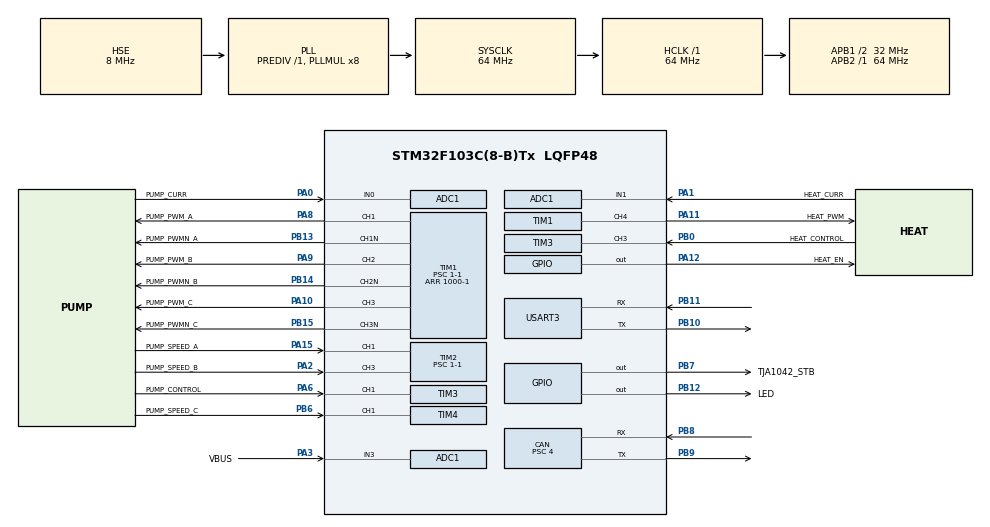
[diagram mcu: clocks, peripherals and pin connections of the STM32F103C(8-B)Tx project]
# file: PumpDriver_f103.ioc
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ADC1.Channel-3\#ChannelRegularConversion=ADC_CHANNEL_VREFINT
ADC1.Channel-4\#ChannelRegularConversion=ADC_CHANNEL_TEMPSENSOR
ADC1.Channel-5\#ChannelRegularConversion=ADC_CHANNEL_3
ADC1.Channel-6\#ChannelRegularConversion=ADC_CHANNEL_1
ADC1.Channel-7\#ChannelRegularConversion=ADC_CHANNEL_0
ADC1.NbrOfConversion=5
ADC1.NbrOfConversionFlag=1
ADC1.Rank-3\#ChannelRegularConversion=1
ADC1.Rank-4\#ChannelRegularConversion=2
ADC1.Rank-5\#ChannelRegularConversion=3
ADC1.Rank-6\#ChannelRegularConversion=4
ADC1.Rank-7\#ChannelRegularConversion=5
ADC1.SamplingTime-3\#ChannelRegularConversion=ADC_SAMPLETIME_239CYCLES_5
ADC1.SamplingTime-4\#ChannelRegularConversion=ADC_SAMPLETIME_239CYCLES_5
ADC1.SamplingTime-5\#ChannelRegularConversion=ADC_SAMPLETIME_239CYCLES_5
ADC1.SamplingTime-6\#ChannelRegularConversion=ADC_SAMPLETIME_239CYCLES_5
ADC1.SamplingTime-7\#ChannelRegularConversion=ADC_SAMPLETIME_239CYCLES_5
ADC1.master=1
CAN.ABOM=ENABLE
CAN.BS1=CAN_BS1_5TQ
CAN.BS2=CAN_BS2_2TQ
CAN.CalculateBaudRate=1000000
CAN.CalculateTimeBit=1000
CAN.CalculateTimeQuantum=125.0
CAN.Mode=CAN_MODE_NORMAL
CAN.NART=ENABLE
CAN.Prescaler=4
CAN.TXFP=ENABLE
Dma.ADC1.0.Direction=DMA_PERIPH_TO_MEMORY
Dma.ADC1.0.Instance=DMA1_Channel1
Dma.ADC1.0.MemDataAlignment=DMA_MDATAALIGN_HALFWORD
Dma.ADC1.0.MemInc=DMA_MINC_ENABLE
Dma.ADC1.0.Mode=DMA_NORMAL
Dma.ADC1.0.PeriphDataAlignment=DMA_PDATAALIGN_HALFWORD
Dma.ADC1.0.PeriphInc=DMA_PINC_DISABLE
Dma.ADC1.0.Priority=DMA_PRIORITY_LOW
Dma.Request0=ADC1
Mcu.Family=STM32F1
Mcu.Name=STM32F103C(8-B)Tx
Mcu.Package=LQFP48
NVIC.CAN1_SCE_IRQn=true\:0\:0\:false\:false\:true\:true\:true\:true
NVIC.DMA1_Channel1_IRQn=true\:0\:0\:false\:false\:true\:false\:true\:true
NVIC.PriorityGroup=NVIC_PRIORITYGROUP_4
NVIC.TIM2_IRQn=true\:0\:0\:false\:false\:true\:true\:true\:true
NVIC.TIM3_IRQn=true\:0\:0\:false\:false\:true\:true\:true\:true
NVIC.TIM4_IRQn=true\:0\:0\:false\:false\:true\:true\:true\:true
NVIC.USART3_IRQn=true\:0\:0\:false\:false\:true\:true\:true\:true
NVIC.USB_LP_CAN1_RX0_IRQn=true\:0\:0\:false\:false\:true\:true\:true\:true
PA0-WKUP.GPIO_Label=PUMP_CURR
PA0-WKUP.Signal=ADCx_IN0
PA1.GPIO_Label=HEAT_CURR
PA1.Signal=ADCx_IN1
PA10.GPIO_Label=PUMP_PWM_C
PA10.GPIO_Speed=GPIO_SPEED_FREQ_HIGH
PA10.Signal=S_TIM1_CH3
PA11.GPIO_Label=HEAT_PWM
PA11.GPIO_Speed=GPIO_SPEED_FREQ_HIGH
PA11.Signal=S_TIM1_CH4
PA12.GPIO_Label=HEAT_EN
PA12.Signal=GPIO_Output
PA13.Mode=Serial_Wire
PA13.Signal=SYS_JTMS-SWDIO
PA14.Mode=Serial_Wire
PA14.Signal=SYS_JTCK-SWCLK
PA15.GPIO_Label=PUMP_SPEED_A
PA15.Signal=S_TIM2_CH1_ETR
PA2.GPIO_Label=PUMP_SPEED_B
PA2.Signal=S_TIM2_CH3
PA3.GPIO_Label=VBUS
PA3.Signal=ADCx_IN3
PA6.GPIO_Label=PUMP_CONTROL
PA6.Signal=S_TIM3_CH1
PA8.GPIO_Label=PUMP_PWM_A
PA8.GPIO_Speed=GPIO_SPEED_FREQ_HIGH
PA8.Signal=S_TIM1_CH1
PA9.GPIO_Label=PUMP_PWM_B
PA9.GPIO_Speed=GPIO_SPEED_FREQ_HIGH
PA9.Signal=S_TIM1_CH2
PB0.GPIO_Label=HEAT_CONTROL
PB0.Signal=S_TIM3_CH3
PB10.Mode=Asynchronous
PB10.Signal=USART3_TX
PB11.Mode=Asynchronous
PB11.Signal=USART3_RX
PB12.GPIO_Label=LED
PB12.Signal=GPIO_Output
PB13.GPIO_Label=PUMP_PWMN_A
PB13.GPIO_Speed=GPIO_SPEED_FREQ_HIGH
PB13.Mode=PWM Generation1 CH1 CH1N
PB13.Signal=TIM1_CH1N
PB14.GPIO_Label=PUMP_PWMN_B
PB14.GPIO_Speed=GPIO_SPEED_FREQ_HIGH
PB14.Mode=PWM Generation2 CH2 CH2N
PB14.Signal=TIM1_CH2N
PB15.GPIO_Label=PUMP_PWMN_C
PB15.GPIO_Speed=GPIO_SPEED_FREQ_HIGH
PB15.Mode=PWM Generation3 CH3 CH3N
PB15.Signal=TIM1_CH3N
PB6.GPIO_Label=PUMP_SPEED_C
PB6.Signal=S_TIM4_CH1
PB7.GPIO_Label=TJA1042_STB
PB7.Signal=GPIO_Output
PB8.Mode=CAN_Activate
PB8.Signal=CAN_RX
PB9.Mode=CAN_Activate
PB9.Signal=CAN_TX
PD0-OSC_IN.Mode=HSE-External-Oscillator
PD0-OSC_IN.Signal=RCC_OSC_IN
PD1-OSC_OUT.Mode=HSE-External-Oscillator
PD1-OSC_OUT.Signal=RCC_OSC_OUT
ProjectManager.HeapSize=0x200
ProjectManager.StackSize=0x400
ProjectManager.TargetToolchain=STM32CubeIDE
RCC.ADCPresc=RCC_ADCPCLK2_DIV6
RCC.AHBFreq_Value=64000000
RCC.APB1CLKDivider=RCC_HCLK_DIV2
RCC.APB1Freq_Value=32000000
RCC.APB1TimFreq_Value=64000000
RCC.APB2Freq_Value=64000000
RCC.APB2TimFreq_Value=64000000
RCC.HCLKFreq_Value=64000000
RCC.PLLMUL=RCC_PLL_MUL8
RCC.PLLSourceVirtual=RCC_PLLSOURCE_HSE
RCC.SYSCLKFreq_VALUE=64000000
RCC.SYSCLKSource=RCC_SYSCLKSOURCE_PLLCLK
RCC.USBFreq_Value=64000000
SH.ADCx_IN0.0=ADC1_IN0,IN0
SH.ADCx_IN1.0=ADC1_IN1,IN1
SH.ADCx_IN3.0=ADC1_IN3,IN3
SH.S_TIM1_CH1.0=TIM1_CH1,PWM Generation1 CH1 CH1N
SH.S_TIM1_CH2.0=TIM1_CH2,PWM Generation2 CH2 CH2N
SH.S_TIM1_CH3.0=TIM1_CH3,PWM Generation3 CH3 CH3N
SH.S_TIM1_CH4.0=TIM1_CH4,PWM Generation4 CH4
SH.S_TIM2_CH1_ETR.0=TIM2_CH1,Input_Capture1_from_TI1
SH.S_TIM2_CH3.0=TIM2_CH3,Input_Capture3_from_TI3
SH.S_TIM3_CH1.0=TIM3_CH1,Input_Capture1_from_TI1
SH.S_TIM3_CH3.0=TIM3_CH3,Input_Capture3_from_TI3
SH.S_TIM4_CH1.0=TIM4_CH1,Input_Capture1_from_TI1
TIM1.Channel-PWM\ Generation1\ CH1\ CH1N=TIM_CHANNEL_1
TIM1.Channel-PWM\ Generation2\ CH2\ CH2N=TIM_CHANNEL_2
TIM1.Channel-PWM\ Generation3\ CH3\ CH3N=TIM_CHANNEL_3
TIM1.Channel-PWM\ Generation4\ CH4=TIM_CHANNEL_4
TIM1.DeadTime=2
TIM1.Period=1000-1
TIM1.Prescaler=1-1
TIM2.AutoReloadPreload=TIM_AUTORELOAD_PRELOAD_ENABLE
TIM2.Channel-Input_Capture1_from_TI1=TIM_CHANNEL_1
TIM2.Channel-Input_Capture2_from_TI1_63=TIM_CHANNEL_2
TIM2.Channel-Input_Capture3_from_TI3=TIM_CHANNEL_3
TIM2.Channel-Input_Capture4_from_TI3_63=TIM_CHANNEL_4
TIM2.ICFilter_CH1=15
TIM2.ICFilter_CH3=15
TIM2.ICPolarity_CH2=TIM_INPUTCHANNELPOLARITY_FALLING
TIM2.ICPolarity_CH4=TIM_INPUTCHANNELPOLARITY_FALLING
TIM2.Prescaler=1-1
TIM3.AutoReloadPreload=TIM_AUTORELOAD_PRELOAD_ENABLE
TIM3.Channel-Input_Capture1_from_TI1=TIM_CHANNEL_1
TIM3.Channel-Input_Capture2_from_TI1_63=TIM_CHANNEL_2
TIM3.Channel-Input_Capture3_from_TI3=TIM_CHANNEL_3
TIM3.Channel-Input_Capture4_from_TI3_63=TIM_CHANNEL_4
TIM3.ICFilter_CH1=15
TIM3.ICFilter_CH3=15
TIM3.ICPolarity_CH2=TIM_INPUTCHANNELPOLARITY_FALLING
TIM3.ICPolarity_CH4=TIM_INPUTCHANNELPOLARITY_FALLING
TIM3.Prescaler=128-1
TIM4.AutoReloadPreload=TIM_AUTORELOAD_PRELOAD_ENABLE
TIM4.Channel-Input_Capture1_from_TI1=TIM_CHANNEL_1
TIM4.Channel-Input_Capture2_from_TI1_63=TIM_CHANNEL_2
TIM4.ICFilter_CH1=15
TIM4.ICPolarity_CH2=TIM_INPUTCHANNELPOLARITY_FALLING
TIM4.Period=60000-1
TIM4.Prescaler=64-1
USART3.VirtualMode=VM_ASYNC
VP_ADC1_TempSens_Input.Mode=IN-TempSens
VP_ADC1_Vref_Input.Mode=IN-Vrefint
VP_TIM1_VS_ClockSourceINT.Mode=Internal
VP_TIM2_VS_ClockSourceINT.Mode=Internal
VP_TIM2_VS_indirect_ch1.Mode=Input_Capture2_from_TI1_63
VP_TIM2_VS_indirect_ch3.Mode=Input_Capture4_from_TI3_63
VP_TIM3_VS_ClockSourceINT.Mode=Internal
VP_TIM3_VS_indirect_ch1.Mode=Input_Capture2_from_TI1_63
VP_TIM3_VS_indirect_ch3.Mode=Input_Capture4_from_TI3_63
VP_TIM4_VS_ClockSourceINT.Mode=Internal
VP_TIM4_VS_indirect_ch1.Mode=Input_Capture2_from_TI1_63
board=custom

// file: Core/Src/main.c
/* USER CODE BEGIN Header */
/**
  ******************************************************************************
  * @file           : main.c
  * @brief          : Main program body
  ******************************************************************************
  * @attention
  *
  * Copyright (c) 2026 STMicroelectronics.
  * All rights reserved.
  *
  * This software is licensed under terms that can be found in the LICENSE file
  * in the root directory of this software component.
  * If no LICENSE file comes with this software, it is provided AS-IS.
  *
  ******************************************************************************
  */
/* USER CODE END Header */
#include "main.h"
#include "adc.h"
#include "can.h"
#include "dma.h"
#include "tim.h"
#include "usart.h"
#include "gpio.h"

/* USER CODE BEGIN Includes */
#include "pump.h"
#include "stm32f1xx_ll_adc.h"
/* USER CODE END Includes */

/* USER CODE BEGIN PV */
volatile uint16_t adc[5] = {0,};
int64_t vcpu, temp, vbus, currheat, currpump;
volatile uint8_t adc_flag = 0;

volatile uint8_t can_flag = 0;
CAN_TxHeaderTypeDef TxHeader;
CAN_RxHeaderTypeDef RxHeader;
uint8_t TxData[8] = {0,};
uint8_t RxData[8] = {0,};
uint32_t TxMailbox = 0;
/* USER CODE END PV */

void SystemClock_Config(void);
/* USER CODE BEGIN PFP */
static void HeartbeatLED_Update();
static void Heat_Update();
static void ADC_Update();
static void CAN_Update();
/* USER CODE END PFP */

/* USER CODE BEGIN 0 */
uint8_t can_send_flag = 0;
uint32_t can_id = 0x1234;
uint16_t pumpduty = 0, heatduty = 0;
uint16_t pumptarget = 0;
uint16_t heattarget = 0;
/* USER CODE END 0 */

int main(void)
{

  /* MCU Configuration--------------------------------------------------------*/

  /* Reset of all peripherals, Initializes the Flash interface and the Systick. */
  HAL_Init();

  /* Configure the system clock */
  SystemClock_Config();

  /* Initialize all configured peripherals */
  MX_GPIO_Init();
  MX_DMA_Init();
  MX_ADC1_Init();
  MX_CAN_Init();
  MX_TIM1_Init();
  MX_TIM2_Init();
  MX_TIM3_Init();
  MX_TIM4_Init();
  MX_USART3_UART_Init();
  /* USER CODE BEGIN 2 */
  HAL_ADCEx_Calibration_Start(&hadc1);
  HAL_ADC_Start_DMA(&hadc1, (uint32_t*)&adc, 5);
  HAL_GPIO_WritePin(HEAT_EN_GPIO_Port, HEAT_EN_Pin, GPIO_PIN_SET); // Enable IR2184
  HAL_GPIO_WritePin(TJA1042_STB_GPIO_Port, TJA1042_STB_Pin, GPIO_PIN_RESET); // Enable TJA1042
  HAL_CAN_Start(&hcan);
  HAL_CAN_ActivateNotification(&hcan, CAN_IT_RX_FIFO0_MSG_PENDING | CAN_IT_ERROR | CAN_IT_BUSOFF | CAN_IT_LAST_ERROR_CODE);
  __HAL_TIM_SET_COMPARE(&htim1, TIM_CHANNEL_4, 0);
  HAL_TIM_PWM_Start(&htim1, TIM_CHANNEL_4);
  pump.targetspeed = 0;
  pump.idle.run_flag = 1;
  /* USER CODE END 2 */

  /* Infinite loop */
  /* USER CODE BEGIN WHILE */
  while (1)
  {
      ADC_Update();
      CAN_Update();
      Heat_Update();
      HeartbeatLED_Update();
      Pump_Update();
    /* USER CODE END WHILE */

  }
}

void SystemClock_Config(void)
{
  RCC_OscInitTypeDef RCC_OscInitStruct = {0};
  RCC_ClkInitTypeDef RCC_ClkInitStruct = {0};
  RCC_PeriphCLKInitTypeDef PeriphClkInit = {0};

  /** Initializes the RCC Oscillators according to the specified parameters
  * in the RCC_OscInitTypeDef structure.
  */
  RCC_OscInitStruct.OscillatorType = RCC_OSCILLATORTYPE_HSE;
  RCC_OscInitStruct.HSEState = RCC_HSE_ON;
  RCC_OscInitStruct.HSEPredivValue = RCC_HSE_PREDIV_DIV1;
  RCC_OscInitStruct.HSIState = RCC_HSI_ON;
  RCC_OscInitStruct.PLL.PLLState = RCC_PLL_ON;
  RCC_OscInitStruct.PLL.PLLSource = RCC_PLLSOURCE_HSE;
  RCC_OscInitStruct.PLL.PLLMUL = RCC_PLL_MUL8;
  if (HAL_RCC_OscConfig(&RCC_OscInitStruct) != HAL_OK)
  {
    Error_Handler();
  }

  /** Initializes the CPU, AHB and APB buses clocks
  */
  RCC_ClkInitStruct.ClockType = RCC_CLOCKTYPE_HCLK|RCC_CLOCKTYPE_SYSCLK
                              |RCC_CLOCKTYPE_PCLK1|RCC_CLOCKTYPE_PCLK2;
  RCC_ClkInitStruct.SYSCLKSource = RCC_SYSCLKSOURCE_PLLCLK;
  RCC_ClkInitStruct.AHBCLKDivider = RCC_SYSCLK_DIV1;
  RCC_ClkInitStruct.APB1CLKDivider = RCC_HCLK_DIV2;
  RCC_ClkInitStruct.APB2CLKDivider = RCC_HCLK_DIV1;

  if (HAL_RCC_ClockConfig(&RCC_ClkInitStruct, FLASH_LATENCY_2) != HAL_OK)
  {
    Error_Handler();
  }
  PeriphClkInit.PeriphClockSelection = RCC_PERIPHCLK_ADC;
  PeriphClkInit.AdcClockSelection = RCC_ADCPCLK2_DIV6;
  if (HAL_RCCEx_PeriphCLKConfig(&PeriphClkInit) != HAL_OK)
  {
    Error_Handler();
  }
}

/* USER CODE BEGIN 4 */
static void HeartbeatLED_Update()
{
    static uint32_t heartbeat_ticks = 0;
    static const uint32_t heartbeat_delta = 125;

    if (heartbeat_ticks + heartbeat_delta < HAL_GetTick())
    {
        LED_GPIO_Port->BSRR = ((LED_GPIO_Port->ODR & LED_Pin) << 16u) | (~LED_GPIO_Port->ODR & LED_Pin);
        heartbeat_ticks += heartbeat_delta;
    }
}

static void CAN_Update()
{
    static uint32_t can_ticks = 0;
    static const uint32_t can_delta = 50; // 20 Hz

    if(can_flag) // Command has been received
    {
        HAL_CAN_GetRxMessage(&hcan, CAN_RX_FIFO0, &RxHeader, RxData);
        pumptarget = (RxData[1] << 8) | (RxData[0]);
        heattarget = (RxData[3] << 8) | (RxData[2]);
        Pump_SetDuty(pumptarget);
        can_flag = 0;
    }

    if (can_ticks + can_delta < HAL_GetTick())
    {
        pump.speed = 0.5 * pump.speed + 0.5 * pump.speed_cnt / PUMP_MAGPAIRS / 6 * 1000 / can_delta * 60;
        pump.intspeed = (uint32_t)pump.speed;
        pump.speed_cnt = 0;
        if(HAL_CAN_GetTxMailboxesFreeLevel(&hcan) > 0)// && can_send_flag)
        {
            // Send message here
            TxHeader.StdId = CAN_RESPONSE_ID;
            TxHeader.ExtId = 0;
            TxHeader.RTR = CAN_RTR_DATA; //CAN_RTR_REMOTE
            TxHeader.IDE = CAN_ID_STD;   // CAN_ID_EXT
            TxHeader.DLC = 8;
            TxHeader.TransmitGlobalTime = 0;
            //TxData[0] = (uint8_t)(pumpduty);
            //TxData[1] = (uint8_t)(pumpduty >> 8);
            //TxData[2] = (uint8_t)(heatduty);
            //TxData[3] = (uint8_t)(heatduty >> 8);
            TxData[0] = (uint8_t)(pump.intspeed);
            TxData[1] = (uint8_t)(pump.intspeed >> 8);
            TxData[2] = (uint8_t)(currheat);
            TxData[3] = (uint8_t)(currheat >> 8);
            TxData[4] = (uint8_t)(currpump);
            TxData[5] = (uint8_t)(currpump >> 8);
            TxData[6] = (uint8_t)(vbus);
            TxData[7] = (uint8_t)(vbus >> 8);
            HAL_CAN_AddTxMessage(&hcan, &TxHeader, TxData, &TxMailbox);
            can_send_flag = 0;
        }
        can_ticks += can_delta;
    }
}

static void Heat_Update()
{
    static uint32_t heat_ticks = 0;
    static const uint32_t heat_delta = 10; // 100 Hz

    if (heat_ticks + heat_delta < HAL_GetTick())
    {
        if(heattarget > 600) heattarget = 600;
        __HAL_TIM_SET_COMPARE(&htim1, TIM_CHANNEL_4, heattarget);
        heat_ticks += heat_delta;
    }
}

static void ADC_Update()
{
    static uint32_t adc_ticks = 0;
    static const uint32_t adc_delta = 100;

    if (adc_ticks + adc_delta < HAL_GetTick())
    {
        if(adc_flag) // Conversion completed
        {
            vcpu = 1200 * 4096 / adc[0];
            temp = (1430 - adc[1] * vcpu / 4096) * 1000 / 4300 + 25;
            vbus = adc[2] * vcpu * 11 / 4096;
            currheat = adc[3] * vcpu * 5000 * 200 / 160000 / 4096;
            currpump = adc[4] * vcpu * 5000 * 200 / 160000 / 4096;
            adc_flag = 0;
            HAL_ADC_Start_DMA(&hadc1, (uint32_t*)&adc, 5);
        }
        adc_ticks += adc_delta;
    }
}

void HAL_CAN_RxFifo0MsgPendingCallback(CAN_HandleTypeDef *hcan)
{
    if(HAL_CAN_GetRxMessage(hcan, CAN_RX_FIFO0, &RxHeader, RxData) == HAL_OK)
    {

        if(RxHeader.StdId == CAN_COMMAND_ID)
        {
            can_flag = 1;
        }
    }
}

void HAL_ADC_ConvCpltCallback(ADC_HandleTypeDef* hadc)
{
    if(hadc == &hadc1)
    {
        adc_flag = 1;
    }
}

void HAL_TIM_IC_CaptureCallback(TIM_HandleTypeDef *htim)
{
    int32_t new_ccr;

    if(htim == &htim2 && pump.control_mode_t == CLOSELOOP)
    {
        if(htim->Channel == HAL_TIM_ACTIVE_CHANNEL_1) // fallA -> riseA
        {
            if(pump.field_state == STATE_6) // 3 -> 6
            {
                __HAL_TIM_SET_COUNTER(&htim4, 0);
                pump.speed_cnt += 1;
                pump.field_state = STATE_1; // 4 -> 1
            }
        } else if(htim->Channel == HAL_TIM_ACTIVE_CHANNEL_2) // riseA -> fallA
        {
            if(pump.field_state == STATE_3) // 6 -> 3
            {
                pump.speed_cnt += 1;
                pump.field_state = STATE_4; // 1 -> 4
            }
        } else if(htim->Channel == HAL_TIM_ACTIVE_CHANNEL_3) // fallC -> riseB
        {
            if(pump.field_state == STATE_2) // 1 -> 2
            {
                pump.speed_cnt += 1;
                pump.field_state = STATE_3; // 2 -> 3
            }
        } else if(htim->Channel == HAL_TIM_ACTIVE_CHANNEL_4) // riseC -> fallB
        {
            if(pump.field_state == STATE_5) // 4 -> 5
            {
                pump.speed_cnt += 1;
                pump.field_state = STATE_6; // 5 -> 6
            }
        }
        BLDC_SetPWM(&pump);
    }
    else if(htim == &htim4 && pump.control_mode_t == CLOSELOOP)
    {
        if(htim->Channel == HAL_TIM_ACTIVE_CHANNEL_1) // riseB -> riseC
        {
            if(pump.field_state == STATE_4) // 2 -> 4
            {
                pump.speed_cnt += 1;
                pump.field_state = STATE_5; // 3 -> 5
            }
        } else if(htim->Channel == HAL_TIM_ACTIVE_CHANNEL_2) // fallB ->fallC
        {
            if(pump.field_state == STATE_1) // 5 -> 1
            {
                pump.speed_cnt += 1;
                __HAL_TIM_SET_COUNTER(&htim2, 0);
                new_ccr = ((__HAL_TIM_GET_COMPARE(&htim2, TIM_CHANNEL_1) - __HAL_TIM_GET_COMPARE(&htim2, TIM_CHANNEL_2)) +
                        (__HAL_TIM_GET_COMPARE(&htim2, TIM_CHANNEL_4) - __HAL_TIM_GET_COMPARE(&htim2, TIM_CHANNEL_3)));
                if(new_ccr > 0)
                {
                    pump.last_ccr = 0.95 * pump.last_ccr + 0.05 * new_ccr / 6;
                }
                else{
                    pump.last_ccr = 0.95 * pump.last_ccr - 0.05 * new_ccr / 6;
                }
                pump.field_state = STATE_2; // 6 -> 2
            }
        }
        BLDC_SetPWM(&pump);
    }
}

void HAL_TIM_PeriodElapsedCallback(TIM_HandleTypeDef *htim)
{
    if(htim == &htim4)
    {
        pump.field_state = (pump.field_state + 1) % 6;
        BLDC_SetPWM(&pump);
    }
}

void HAL_CAN_ErrorCallback(CAN_HandleTypeDef *hcan)
{
}
/* USER CODE END 4 */

void Error_Handler(void)
{
  __disable_irq();
  while (1)
  {
  }
}
